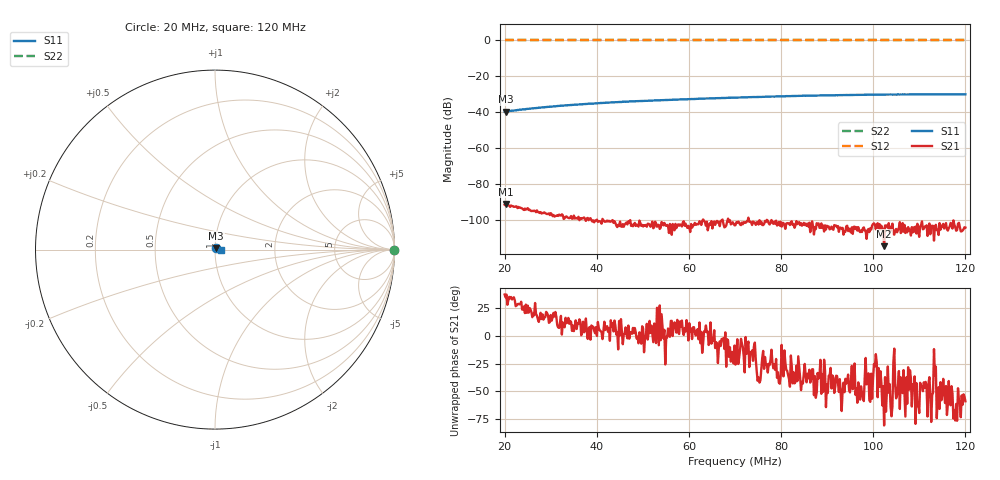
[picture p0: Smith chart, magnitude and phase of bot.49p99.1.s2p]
! Anritsu VNA Master:  Model: MS2036C/10/77
! SN:  1601066
! /bd0/18may08.cable.cal/bot..49p99.1.s2p
! Existing Calibration Information:
! TYPE:  Current Settings,  Active Cal Settings
! TIME:  05/08/2018 03:35:41 PM,  05/08/2018 03:25:16 PM
! INTERNAL TEMP:  52.0 C,  53.3 C
! # POINTS:  500,  500
! START FREQ:  20.000 MHz,  20.000 MHz
! STOP FREQ:  120.000 MHz,  120.000 MHz
! SOURCE POWER:  High,  High
! IFBW:  50 Hz,  50 Hz
! AVG FACTOR:  1 ,  1
! REF PLANE 1:  0 mm,  0 mm
! REF PLANE 2:  0 mm,  0 mm
! CAL TYPE:  Full S11,  Full S11
! CAL METHOD:  SOLT,  SOLT
! CAL LINE TYPE:  Coax,  Coax
! DUT PORT 1:  K-Conn(F),  K-Conn(F)
! DUT PORT 2:  K-Conn(F),  K-Conn(F)
! CAL STATUS:  OK: Accuracy High,  --
# GHZ S DB R 50.0
! FREQ.GHZ  S11DB  S11A  S21DB  S21A  S12DB  S12A  S22DB  S22A
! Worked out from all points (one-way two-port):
!   500 points, 20 MHz to 120 MHz, reference 50 ohm
!   highest |S21| = -91.08 dB at 20.2 MHz (marker M1); lowest = -114.6 dB at 102.4 MHz (marker M2)
!   lowest |S11| = -39.6 dB at 20.2 MHz (marker M3), VSWR 1.02, Z = 50.6 + j0.864 ohm
!   |S11| at or under -10 dB: start of sweep to end of sweep
!   |S22| runs from 0.0 to 0.0 dB; largest |S21 - S12| = 1
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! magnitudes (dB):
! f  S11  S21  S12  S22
! 20 MHz  -39.6  -91.5  0.0  0.0
! 20.2 MHz  -39.6  -91.1  0.0  0.0
! 20.6 MHz  -39.5  -91.6  0.0  0.0
! 23.21 MHz  -38.6  -93.2  0.0  0.0
! 25.21 MHz  -38.1  -94.5  0.0  0.0
! 29.02 MHz  -37.1  -96.5  0.0  0.0
! 31.82 MHz  -36.5  -97.0  0.0  0.0
! 36.83 MHz  -35.5  -99.0  0.0  0.0
! 43.05 MHz  -34.5  -101.0  0.0  0.0
! 47.45 MHz  -34.0  -103.3  0.0  0.0
! 51.46 MHz  -33.6  -102.5  0.0  0.0
! 53.47 MHz  -33.3  -102.8  0.0  0.0
! 63.69 MHz  -32.3  -103.2  0.0  0.0
! 70.1 MHz  -31.8  -102.9  0.0  0.0
! 79.32 MHz  -31.2  -102.5  0.0  0.0
! 86.73 MHz  -30.7  -100.8  0.0  0.0
! 88.94 MHz  -30.6  -104.5  0.0  0.0
! 96.15 MHz  -30.3  -105.1  0.0  0.0
! 102.4 MHz  -30.2  -114.6  0.0  0.0
! 103.4 MHz  -30.1  -101.8  0.0  0.0
! 115.2 MHz  -30.0  -102.2  0.0  0.0
! 120 MHz  -30.0  -104.3  0.0  0.0
